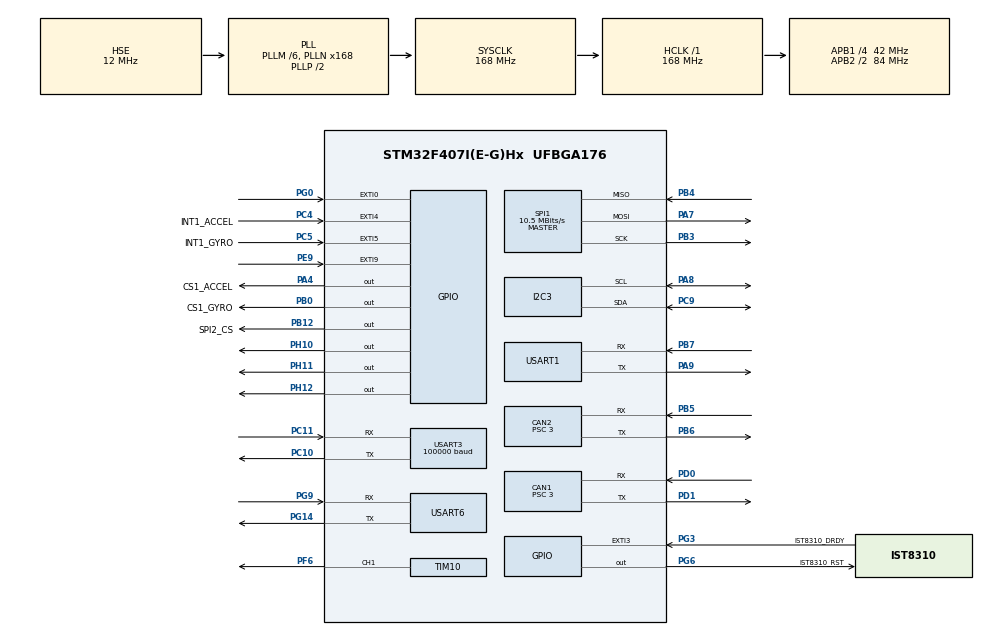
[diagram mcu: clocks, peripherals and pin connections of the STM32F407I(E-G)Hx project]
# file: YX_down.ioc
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CAN1.BS1=CAN_BS1_10TQ
CAN1.BS2=CAN_BS2_3TQ
CAN1.CalculateBaudRate=1000000
CAN1.CalculateTimeBit=1000
CAN1.CalculateTimeQuantum=71.42857142857143
CAN1.Prescaler=3
CAN2.BS1=CAN_BS1_10TQ
CAN2.BS2=CAN_BS2_3TQ
CAN2.CalculateBaudRate=1000000
CAN2.CalculateTimeBit=1000
CAN2.CalculateTimeQuantum=71.42857142857143
CAN2.Prescaler=3
Dma.Request0=USART1_RX
Dma.Request1=USART1_TX
Dma.Request2=USART6_RX
Dma.Request3=USART6_TX
Dma.Request4=USART3_RX
Dma.Request5=USART3_TX
Dma.Request6=SPI1_RX
Dma.Request7=SPI1_TX
Dma.SPI1_RX.6.Direction=DMA_PERIPH_TO_MEMORY
Dma.SPI1_RX.6.FIFOMode=DMA_FIFOMODE_DISABLE
Dma.SPI1_RX.6.Instance=DMA2_Stream2
Dma.SPI1_RX.6.MemDataAlignment=DMA_MDATAALIGN_BYTE
Dma.SPI1_RX.6.MemInc=DMA_MINC_ENABLE
Dma.SPI1_RX.6.Mode=DMA_NORMAL
Dma.SPI1_RX.6.PeriphDataAlignment=DMA_PDATAALIGN_BYTE
Dma.SPI1_RX.6.PeriphInc=DMA_PINC_DISABLE
Dma.SPI1_RX.6.Priority=DMA_PRIORITY_VERY_HIGH
Dma.SPI1_TX.7.Direction=DMA_MEMORY_TO_PERIPH
Dma.SPI1_TX.7.FIFOMode=DMA_FIFOMODE_DISABLE
Dma.SPI1_TX.7.Instance=DMA2_Stream3
Dma.SPI1_TX.7.MemDataAlignment=DMA_MDATAALIGN_BYTE
Dma.SPI1_TX.7.MemInc=DMA_MINC_ENABLE
Dma.SPI1_TX.7.Mode=DMA_NORMAL
Dma.SPI1_TX.7.PeriphDataAlignment=DMA_PDATAALIGN_BYTE
Dma.SPI1_TX.7.PeriphInc=DMA_PINC_DISABLE
Dma.SPI1_TX.7.Priority=DMA_PRIORITY_HIGH
Dma.USART1_RX.0.Direction=DMA_PERIPH_TO_MEMORY
Dma.USART1_RX.0.FIFOMode=DMA_FIFOMODE_DISABLE
Dma.USART1_RX.0.Instance=DMA2_Stream5
Dma.USART1_RX.0.MemDataAlignment=DMA_MDATAALIGN_BYTE
Dma.USART1_RX.0.MemInc=DMA_MINC_ENABLE
Dma.USART1_RX.0.Mode=DMA_CIRCULAR
Dma.USART1_RX.0.PeriphDataAlignment=DMA_PDATAALIGN_BYTE
Dma.USART1_RX.0.PeriphInc=DMA_PINC_DISABLE
Dma.USART1_RX.0.Priority=DMA_PRIORITY_VERY_HIGH
Dma.USART1_TX.1.Direction=DMA_MEMORY_TO_PERIPH
Dma.USART1_TX.1.FIFOMode=DMA_FIFOMODE_DISABLE
Dma.USART1_TX.1.Instance=DMA2_Stream7
Dma.USART1_TX.1.MemDataAlignment=DMA_MDATAALIGN_BYTE
Dma.USART1_TX.1.MemInc=DMA_MINC_ENABLE
Dma.USART1_TX.1.Mode=DMA_CIRCULAR
Dma.USART1_TX.1.PeriphDataAlignment=DMA_PDATAALIGN_BYTE
Dma.USART1_TX.1.PeriphInc=DMA_PINC_DISABLE
Dma.USART1_TX.1.Priority=DMA_PRIORITY_VERY_HIGH
Dma.USART3_RX.4.Direction=DMA_PERIPH_TO_MEMORY
Dma.USART3_RX.4.FIFOMode=DMA_FIFOMODE_DISABLE
Dma.USART3_RX.4.Instance=DMA1_Stream1
Dma.USART3_RX.4.MemDataAlignment=DMA_MDATAALIGN_BYTE
Dma.USART3_RX.4.MemInc=DMA_MINC_ENABLE
Dma.USART3_RX.4.Mode=DMA_CIRCULAR
Dma.USART3_RX.4.PeriphDataAlignment=DMA_PDATAALIGN_BYTE
Dma.USART3_RX.4.PeriphInc=DMA_PINC_DISABLE
Dma.USART3_RX.4.Priority=DMA_PRIORITY_VERY_HIGH
Dma.USART3_TX.5.Direction=DMA_MEMORY_TO_PERIPH
Dma.USART3_TX.5.FIFOMode=DMA_FIFOMODE_DISABLE
Dma.USART3_TX.5.Instance=DMA1_Stream3
Dma.USART3_TX.5.MemDataAlignment=DMA_MDATAALIGN_BYTE
Dma.USART3_TX.5.MemInc=DMA_MINC_ENABLE
Dma.USART3_TX.5.Mode=DMA_NORMAL
Dma.USART3_TX.5.PeriphDataAlignment=DMA_PDATAALIGN_BYTE
Dma.USART3_TX.5.PeriphInc=DMA_PINC_DISABLE
Dma.USART3_TX.5.Priority=DMA_PRIORITY_VERY_HIGH
Dma.USART6_RX.2.Direction=DMA_PERIPH_TO_MEMORY
Dma.USART6_RX.2.FIFOMode=DMA_FIFOMODE_DISABLE
Dma.USART6_RX.2.Instance=DMA2_Stream1
Dma.USART6_RX.2.MemDataAlignment=DMA_MDATAALIGN_BYTE
Dma.USART6_RX.2.MemInc=DMA_MINC_ENABLE
Dma.USART6_RX.2.Mode=DMA_NORMAL
Dma.USART6_RX.2.PeriphDataAlignment=DMA_PDATAALIGN_BYTE
Dma.USART6_RX.2.PeriphInc=DMA_PINC_DISABLE
Dma.USART6_RX.2.Priority=DMA_PRIORITY_VERY_HIGH
Dma.USART6_TX.3.Direction=DMA_MEMORY_TO_PERIPH
Dma.USART6_TX.3.FIFOMode=DMA_FIFOMODE_DISABLE
Dma.USART6_TX.3.Instance=DMA2_Stream6
Dma.USART6_TX.3.MemDataAlignment=DMA_MDATAALIGN_BYTE
Dma.USART6_TX.3.MemInc=DMA_MINC_ENABLE
Dma.USART6_TX.3.Mode=DMA_NORMAL
Dma.USART6_TX.3.PeriphDataAlignment=DMA_PDATAALIGN_BYTE
Dma.USART6_TX.3.PeriphInc=DMA_PINC_DISABLE
Dma.USART6_TX.3.Priority=DMA_PRIORITY_MEDIUM
FREERTOS.INCLUDE_uxTaskGetStackHighWaterMark=1
FREERTOS.Tasks01=defaultTask,0,128,StartDefaultTask,Default,NULL,Dynamic,NULL,NULL
I2C3.I2C_Mode=I2C_Fast
Mcu.Family=STM32F4
Mcu.Name=STM32F407I(E-G)Hx
Mcu.Package=UFBGA176
NVIC.CAN1_RX0_IRQn=true\:5\:0\:false\:false\:true\:true\:true\:true\:true
NVIC.CAN1_TX_IRQn=true\:5\:0\:false\:false\:true\:true\:true\:true\:true
NVIC.CAN2_RX0_IRQn=true\:5\:0\:false\:false\:true\:true\:true\:true\:true
NVIC.CAN2_TX_IRQn=true\:5\:0\:false\:false\:true\:true\:true\:true\:true
NVIC.DMA1_Stream1_IRQn=true\:5\:0\:false\:false\:true\:true\:false\:true\:true
NVIC.DMA1_Stream3_IRQn=true\:5\:0\:false\:false\:true\:true\:false\:true\:true
NVIC.DMA2_Stream1_IRQn=true\:5\:0\:false\:false\:true\:true\:false\:true\:true
NVIC.DMA2_Stream2_IRQn=true\:5\:0\:false\:false\:true\:true\:false\:true\:true
NVIC.DMA2_Stream3_IRQn=true\:5\:0\:false\:false\:true\:true\:false\:true\:true
NVIC.DMA2_Stream5_IRQn=true\:0\:0\:false\:false\:true\:false\:false\:true\:true
NVIC.DMA2_Stream6_IRQn=true\:5\:0\:false\:false\:true\:true\:false\:true\:true
NVIC.DMA2_Stream7_IRQn=true\:5\:0\:false\:false\:true\:true\:false\:true\:true
NVIC.EXTI0_IRQn=true\:6\:0\:true\:false\:true\:true\:true\:true\:true
NVIC.EXTI3_IRQn=true\:5\:0\:false\:false\:true\:true\:true\:true\:true
NVIC.EXTI4_IRQn=true\:5\:0\:false\:false\:true\:true\:true\:true\:true
NVIC.EXTI9_5_IRQn=true\:5\:0\:false\:false\:true\:true\:true\:true\:true
NVIC.PriorityGroup=NVIC_PRIORITYGROUP_4
NVIC.SPI1_IRQn=true\:5\:0\:false\:false\:true\:true\:true\:true\:true
NVIC.TIM1_BRK_TIM9_IRQn=true\:5\:0\:false\:false\:true\:true\:true\:true\:true
NVIC.TIM2_IRQn=true\:5\:0\:false\:false\:true\:true\:true\:true\:true
NVIC.TIM3_IRQn=true\:15\:0\:false\:false\:true\:false\:false\:true\:true
NVIC.TIM8_BRK_TIM12_IRQn=true\:5\:0\:false\:false\:true\:true\:true\:true\:true
NVIC.TIM8_UP_TIM13_IRQn=true\:5\:0\:false\:false\:true\:true\:true\:true\:true
NVIC.TimeBase=TIM3_IRQn
NVIC.TimeBaseIP=TIM3
NVIC.USART1_IRQn=true\:5\:0\:false\:false\:true\:true\:true\:true\:true
NVIC.USART3_IRQn=true\:5\:0\:false\:false\:true\:true\:true\:true\:true
NVIC.USART6_IRQn=true\:5\:0\:false\:false\:true\:true\:true\:true\:true
PA13.Mode=Serial_Wire
PA13.Signal=SYS_JTMS-SWDIO
PA14.Mode=Serial_Wire
PA14.Signal=SYS_JTCK-SWCLK
PA4.GPIO_Label=CS1_ACCEL
PA4.GPIO_PuPd=GPIO_PULLUP
PA4.GPIO_Speed=GPIO_SPEED_FREQ_HIGH
PA4.PinState=GPIO_PIN_SET
PA4.Signal=GPIO_Output
PA7.GPIO_PuPd=GPIO_PULLUP
PA7.Mode=Full_Duplex_Master
PA7.Signal=SPI1_MOSI
PA8.Mode=I2C
PA8.Signal=I2C3_SCL
PA9.Mode=Asynchronous
PA9.Signal=USART1_TX
PB0.GPIO_Label=CS1_GYRO
PB0.GPIO_PuPd=GPIO_PULLUP
PB0.GPIO_Speed=GPIO_SPEED_FREQ_HIGH
PB0.PinState=GPIO_PIN_SET
PB0.Signal=GPIO_Output
PB12.GPIO_Label=SPI2_CS
PB12.GPIO_PuPd=GPIO_PULLUP
PB12.Signal=GPIO_Output
PB3.GPIO_PuPd=GPIO_PULLUP
PB3.Mode=Full_Duplex_Master
PB3.Signal=SPI1_SCK
PB4.GPIO_PuPd=GPIO_PULLUP
PB4.Mode=Full_Duplex_Master
PB4.Signal=SPI1_MISO
PB5.Mode=CAN_Activate
PB5.Signal=CAN2_RX
PB6.Mode=CAN_Activate
PB6.Signal=CAN2_TX
PB7.Mode=Asynchronous
PB7.Signal=USART1_RX
PC10.Mode=Asynchronous
PC10.Signal=USART3_TX
PC11.Mode=Asynchronous
PC11.Signal=USART3_RX
PC4.GPIO_Label=INT1_ACCEL
PC4.GPIO_PuPd=GPIO_PULLUP
PC4.Signal=GPXTI4
PC5.GPIO_Label=INT1_GYRO
PC5.GPIO_PuPd=GPIO_PULLUP
PC5.Signal=GPXTI5
PC9.Mode=I2C
PC9.Signal=I2C3_SDA
PD0.Mode=CAN_Activate
PD0.Signal=CAN1_RX
PD1.Mode=CAN_Activate
PD1.Signal=CAN1_TX
PE9.GPIO_PuPd=GPIO_PULLUP
PE9.Signal=GPXTI9
PF6.GPIO_PuPd=GPIO_PULLUP
PF6.GPIO_Speed=GPIO_SPEED_FREQ_HIGH
PF6.Signal=S_TIM10_CH1
PG0.GPIO_PuPd=GPIO_PULLUP
PG0.Signal=GPXTI0
PG14.GPIO_PuPd=GPIO_PULLUP
PG14.Mode=Asynchronous
PG14.Signal=USART6_TX
PG3.GPIO_Label=IST8310_DRDY
PG3.GPIO_PuPd=GPIO_PULLUP
PG3.Signal=GPXTI3
PG6.GPIO_Label=IST8310_RST
PG6.GPIO_PuPd=GPIO_PULLUP
PG6.GPIO_Speed=GPIO_SPEED_FREQ_MEDIUM
PG6.PinState=GPIO_PIN_SET
PG6.Signal=GPIO_Output
PG9.GPIO_PuPd=GPIO_PULLUP
PG9.Mode=Asynchronous
PG9.Signal=USART6_RX
PH0-OSC_IN.Mode=HSE-External-Oscillator
PH0-OSC_IN.Signal=RCC_OSC_IN
PH1-OSC_OUT.Mode=HSE-External-Oscillator
PH1-OSC_OUT.Signal=RCC_OSC_OUT
PH10.GPIO_PuPd=GPIO_PULLUP
PH10.Signal=GPIO_Output
PH11.GPIO_PuPd=GPIO_PULLUP
PH11.Signal=GPIO_Output
PH12.GPIO_PuPd=GPIO_PULLUP
PH12.Signal=GPIO_Output
ProjectManager.HeapSize=0x200
ProjectManager.StackSize=0x400
ProjectManager.TargetToolchain=MDK-ARM V5.32
RCC.48MHZClocksFreq_Value=84000000
RCC.AHBFreq_Value=168000000
RCC.APB1CLKDivider=RCC_HCLK_DIV4
RCC.APB1Freq_Value=42000000
RCC.APB1TimFreq_Value=84000000
RCC.APB2CLKDivider=RCC_HCLK_DIV2
RCC.APB2Freq_Value=84000000
RCC.APB2TimFreq_Value=168000000
RCC.CortexFreq_Value=168000000
RCC.HCLKFreq_Value=168000000
RCC.HSE_VALUE=12000000
RCC.HSI_VALUE=16000000
RCC.LSE_VALUE=32768
RCC.PLLM=6
RCC.PLLN=168
RCC.PLLSourceVirtual=RCC_PLLSOURCE_HSE
RCC.SYSCLKFreq_VALUE=168000000
RCC.SYSCLKSource=RCC_SYSCLKSOURCE_PLLCLK
RCC.VCOOutputFreq_Value=336000000
SH.S_TIM10_CH1.0=TIM10_CH1,PWM Generation1 CH1
SPI1.BaudRatePrescaler=SPI_BAUDRATEPRESCALER_8
SPI1.CLKPhase=SPI_PHASE_2EDGE
SPI1.CLKPolarity=SPI_POLARITY_HIGH
SPI1.CalculateBaudRate=10.5 MBits/s
SPI1.Direction=SPI_DIRECTION_2LINES
SPI1.Mode=SPI_MODE_MASTER
SPI1.VirtualType=VM_MASTER
TIM1.Period=100-1
TIM1.Prescaler=16800-1
TIM10.Channel=TIM_CHANNEL_1
TIM10.Period=65535
TIM2.Period=100-1
TIM2.Prescaler=8400
TIM8.Period=100-1
TIM8.Prescaler=16800-1
TIM9.Period=100-1
TIM9.Prescaler=16800-1
USART1.VirtualMode=VM_ASYNC
USART3.BaudRate=100000
USART3.VirtualMode=VM_ASYNC
USART6.VirtualMode=VM_ASYNC
VP_FREERTOS_VS_CMSIS_V1.Mode=CMSIS_V1
VP_SYS_VS_tim3.Mode=TIM3
VP_TIM10_VS_ClockSourceINT.Mode=Enable_Timer
VP_TIM1_VS_ClockSourceINT.Mode=Internal
VP_TIM2_VS_ClockSourceINT.Mode=Internal
VP_TIM8_VS_ClockSourceINT.Mode=Internal
VP_TIM9_VS_ClockSourceINT.Mode=Internal
board=custom

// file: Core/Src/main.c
/* USER CODE BEGIN Header */
/**
  ******************************************************************************
  * @file           : main.c
  * @brief          : Main program body
  ******************************************************************************
  * @attention
  *
  * Copyright (c) 2023 STMicroelectronics.
  * All rights reserved.
  *
  * This software is licensed under terms that can be found in the LICENSE file
  * in the root directory of this software component.
  * If no LICENSE file comes with this software, it is provided AS-IS.
  *
  ******************************************************************************
  */
/* USER CODE END Header */
#include "main.h"
#include "cmsis_os.h"
#include "can.h"
#include "dma.h"
#include "i2c.h"
#include "spi.h"
#include "tim.h"
#include "usart.h"
#include "gpio.h"

/* USER CODE BEGIN Includes */
#include "INS_task.h"
#include "drv_can.h"
#include "drv_usart.h"
#include "bsp_delay.h"
/* USER CODE END Includes */

void SystemClock_Config(void);
void MX_FREERTOS_Init(void);

/* USER CODE BEGIN 0 */
//全局变量
uint16_t can_cnt_2;
float target_speed[7]={0};//实测最大空载转速320rpm
float target_speed_can_2[7]={0};//实测最大空载转速320rpm
moto_info_t motor_info[MOTOR_MAX_NUM];		//赋予最大的7个字节
moto_info_t motor_info_can_2[MOTOR_MAX_NUM];		//赋予最大的7个字节

uint8_t can_flag=0;
double step=9158/660;
double r;
double target_v;
int16_t target_int1;
int16_t target_int2;//用于叠加旋转和直行
double target_curl;
float yuntai_step=60*(1024-364);

//拨盘
float time=100;//时间
float time_count;//时间计数值
uint8_t flag_shoot;//标志位
float round_shoot;//转动圈数
float down;
float up;

//Yaw轴
int16_t target_angle=4096;
int16_t err_angle;
int16_t max_yaw_speed;
float small;
float angle_limit =8191;//转角的最大值

uint8_t rx_data[8];
/* USER CODE END 0 */

int main(void)
{

  /* MCU Configuration--------------------------------------------------------*/

  /* Reset of all peripherals, Initializes the Flash interface and the Systick. */
  HAL_Init();

  /* Configure the system clock */
  SystemClock_Config();

  /* Initialize all configured peripherals */
  MX_GPIO_Init();
  MX_DMA_Init();
  MX_TIM1_Init();
  MX_TIM2_Init();
  MX_TIM8_Init();
  MX_TIM9_Init();
  MX_CAN1_Init();
  MX_CAN2_Init();
  MX_USART1_UART_Init();
  MX_USART6_UART_Init();
  MX_USART3_UART_Init();
  MX_I2C3_Init();
  MX_SPI1_Init();
  MX_TIM10_Init();
  /* USER CODE BEGIN 2 */

//	HAL_NVIC_SetPriority(SysTick_IRQn,1,1);//调高HAL_Delay的时钟中断优先级
	CAN1_Init();
  CAN2_Init();
  USART6_Init();
	USART3_Init();
	HAL_TIM_Base_Start_IT(&htim1);//开启定时器1并打开中断
	delay_init();//启动IMU
	HAL_TIM_PWM_Start(&htim10,TIM_CHANNEL_1);//BMI088需要使用
  /* USER CODE END 2 */

  /* Call init function for freertos objects (in freertos.c) */
  MX_FREERTOS_Init();

  /* Start scheduler */
  osKernelStart();

  /* We should never get here as control is now taken by the scheduler */
  /* Infinite loop */
  while (1)
  {

  }
}

void SystemClock_Config(void)
{
  RCC_OscInitTypeDef RCC_OscInitStruct = {0};
  RCC_ClkInitTypeDef RCC_ClkInitStruct = {0};

  /** Configure the main internal regulator output voltage
  */
  __HAL_RCC_PWR_CLK_ENABLE();
  __HAL_PWR_VOLTAGESCALING_CONFIG(PWR_REGULATOR_VOLTAGE_SCALE1);

  /** Initializes the RCC Oscillators according to the specified parameters
  * in the RCC_OscInitTypeDef structure.
  */
  RCC_OscInitStruct.OscillatorType = RCC_OSCILLATORTYPE_HSE;
  RCC_OscInitStruct.HSEState = RCC_HSE_ON;
  RCC_OscInitStruct.PLL.PLLState = RCC_PLL_ON;
  RCC_OscInitStruct.PLL.PLLSource = RCC_PLLSOURCE_HSE;
  RCC_OscInitStruct.PLL.PLLM = 6;
  RCC_OscInitStruct.PLL.PLLN = 168;
  RCC_OscInitStruct.PLL.PLLP = RCC_PLLP_DIV2;
  RCC_OscInitStruct.PLL.PLLQ = 4;
  if (HAL_RCC_OscConfig(&RCC_OscInitStruct) != HAL_OK)
  {
    Error_Handler();
  }

  /** Initializes the CPU, AHB and APB buses clocks
  */
  RCC_ClkInitStruct.ClockType = RCC_CLOCKTYPE_HCLK|RCC_CLOCKTYPE_SYSCLK
                              |RCC_CLOCKTYPE_PCLK1|RCC_CLOCKTYPE_PCLK2;
  RCC_ClkInitStruct.SYSCLKSource = RCC_SYSCLKSOURCE_PLLCLK;
  RCC_ClkInitStruct.AHBCLKDivider = RCC_SYSCLK_DIV1;
  RCC_ClkInitStruct.APB1CLKDivider = RCC_HCLK_DIV4;
  RCC_ClkInitStruct.APB2CLKDivider = RCC_HCLK_DIV2;

  if (HAL_RCC_ClockConfig(&RCC_ClkInitStruct, FLASH_LATENCY_5) != HAL_OK)
  {
    Error_Handler();
  }
}

void HAL_TIM_PeriodElapsedCallback(TIM_HandleTypeDef *htim)
{
  if (htim->Instance == TIM3) {
    HAL_IncTick();
  }
}

void Error_Handler(void)
{
  __disable_irq();
  while (1)
  {
  }
}
